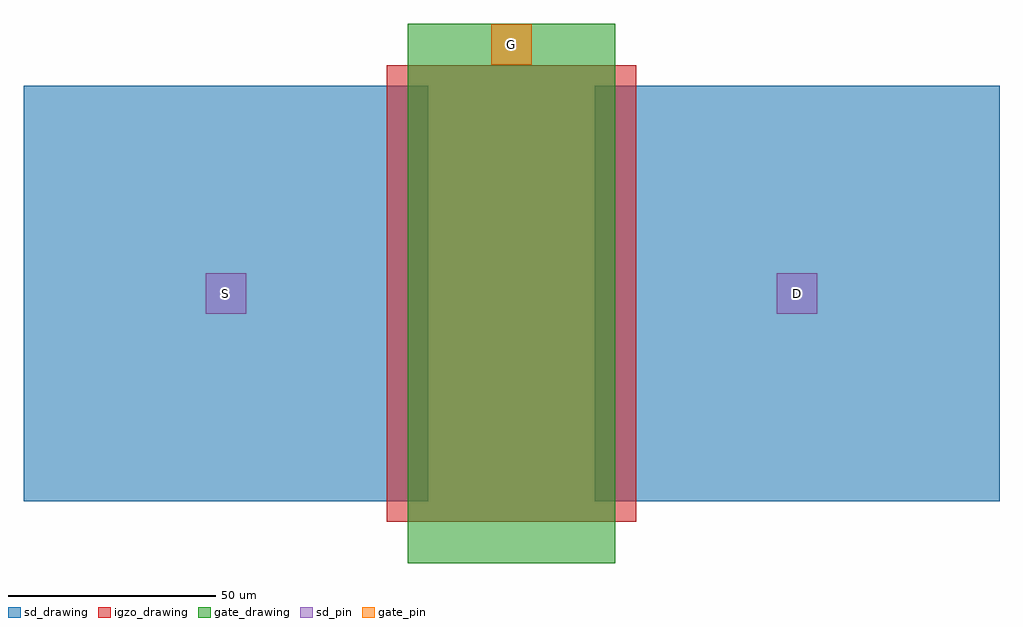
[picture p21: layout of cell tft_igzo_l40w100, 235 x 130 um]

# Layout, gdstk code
import gdstk
lib = gdstk.Library(unit=1e-6, precision=1e-09)
def R(c, l, rs):  # rectangles x0, y0, x1, y1
    for r in rs: c.add(gdstk.rectangle(r[:2], r[2:], *l))
gate_drawing = (2, 0)
gate_pin = (2, 10)
igzo_drawing = (4, 0)
sd_drawing = (6, 0)
sd_pin = (6, 10)

tft_igzo_l40w100 = lib.new_cell('tft_igzo_l40w100')
R(tft_igzo_l40w100, gate_drawing, [(-25,-65,25,65)])
R(tft_igzo_l40w100, gate_pin, [(-4.88,55.12,4.88,64.88)])
R(tft_igzo_l40w100, igzo_drawing, [(-30,-55,30,55)])
R(tft_igzo_l40w100, sd_drawing, [(-117.5,-50,-20,50), (20,-50,117.5,50)])
R(tft_igzo_l40w100, sd_pin, [(-73.63,-4.88,-63.87,4.88), (63.87,-4.88,73.63,4.88)])
tft_igzo_l40w100.add(gdstk.Label('S', (-68.75,0), layer=6, texttype=10))
tft_igzo_l40w100.add(gdstk.Label('D', (68.75,0), layer=6, texttype=10))
tft_igzo_l40w100.add(gdstk.Label('G', (0,60), layer=2, texttype=10))

lib.write_gds('tft_igzo_l40w100.gds')
